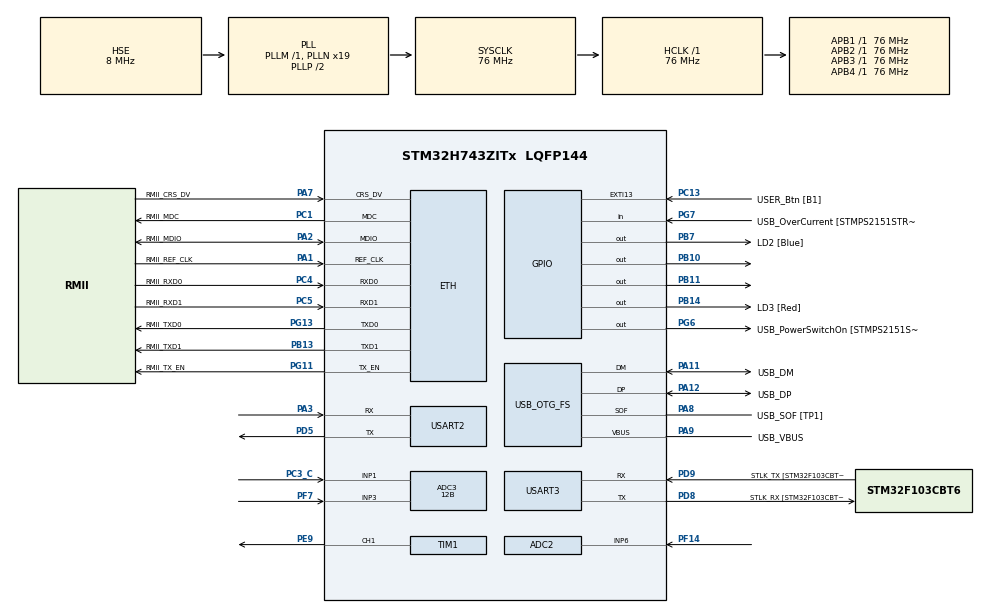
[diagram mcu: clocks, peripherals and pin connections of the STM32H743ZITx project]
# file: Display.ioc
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ADC2.Channel-6\#ChannelRegularConversion=ADC_CHANNEL_6
ADC2.ClockPrescaler=ADC_CLOCK_ASYNC_DIV2
ADC2.ClockPrescalerADC3=ADC_CLOCK_ASYNC_DIV4
ADC2.ContinuousConvMode=DISABLE
ADC2.NbrOfConversionFlag=1
ADC2.Offset-6\#ChannelRegularConversion=0
ADC2.OffsetNumber-6\#ChannelRegularConversion=ADC_OFFSET_NONE
ADC2.OffsetSignedSaturation-6\#ChannelRegularConversion=DISABLE
ADC2.Rank-6\#ChannelRegularConversion=1
ADC2.Resolution=ADC_RESOLUTION_12B
ADC2.SamplingTime-6\#ChannelRegularConversion=ADC_SAMPLETIME_16CYCLES_5
ADC3.Channel-0\#ChannelRegularConversion=ADC_CHANNEL_1
ADC3.Channel-2\#ChannelRegularConversion=ADC_CHANNEL_3
ADC3.ClockPrescalerADC3=ADC_CLOCK_ASYNC_DIV4
ADC3.ContinuousConvMode=DISABLE
ADC3.ConversionDataManagement=ADC_CONVERSIONDATA_DMA_CIRCULAR
ADC3.EOCSelection=ADC_EOC_SEQ_CONV
ADC3.NbrOfConversion=2
ADC3.NbrOfConversionFlag=1
ADC3.OffsetNumber-2\#ChannelRegularConversion=ADC_OFFSET_NONE
ADC3.Rank-2\#ChannelRegularConversion=2
ADC3.Resolution=ADC_RESOLUTION_12B
ADC3.SamplingTime-0\#ChannelRegularConversion=ADC_SAMPLETIME_64CYCLES_5
ADC3.SamplingTime-2\#ChannelRegularConversion=ADC_SAMPLETIME_64CYCLES_5
Dma.ADC3.0.Direction=DMA_PERIPH_TO_MEMORY
Dma.ADC3.0.EventEnable=DISABLE
Dma.ADC3.0.FIFOMode=DMA_FIFOMODE_DISABLE
Dma.ADC3.0.Instance=DMA1_Stream0
Dma.ADC3.0.MemDataAlignment=DMA_MDATAALIGN_HALFWORD
Dma.ADC3.0.MemInc=DMA_MINC_ENABLE
Dma.ADC3.0.Mode=DMA_CIRCULAR
Dma.ADC3.0.PeriphDataAlignment=DMA_PDATAALIGN_HALFWORD
Dma.ADC3.0.PeriphInc=DMA_PINC_DISABLE
Dma.ADC3.0.Polarity=HAL_DMAMUX_REQ_GEN_RISING
Dma.ADC3.0.Priority=DMA_PRIORITY_LOW
Dma.ADC3.0.RequestNumber=1
Dma.ADC3.0.SignalID=NONE
Dma.ADC3.0.SyncEnable=DISABLE
Dma.ADC3.0.SyncPolarity=HAL_DMAMUX_SYNC_NO_EVENT
Dma.ADC3.0.SyncRequestNumber=1
Dma.ADC3.0.SyncSignalID=NONE
Dma.Request0=ADC3
ETH.MediaInterface=HAL_ETH_RMII_MODE
Mcu.Family=STM32H7
Mcu.Name=STM32H743ZITx
Mcu.Package=LQFP144
NVIC.ADC3_IRQn=true\:1\:0\:true\:false\:true\:true\:true\:true
NVIC.DMA1_Stream0_IRQn=true\:0\:0\:false\:false\:true\:false\:true\:true
NVIC.PriorityGroup=NVIC_PRIORITYGROUP_4
NVIC.USART2_IRQn=true\:0\:0\:false\:false\:true\:true\:true\:true
PA1.GPIO_Label=RMII_REF_CLK
PA1.Mode=RMII
PA1.Signal=ETH_REF_CLK
PA10.GPIO_Label=USB_ID
PA10.Signal=USB_OTG_FS_ID
PA11.GPIO_Label=USB_DM
PA11.Mode=Device_Only
PA11.Signal=USB_OTG_FS_DM
PA12.GPIO_Label=USB_DP
PA12.Mode=Device_Only
PA12.Signal=USB_OTG_FS_DP
PA13\ (JTMS/SWDIO).GPIO_Label=TMS
PA13\ (JTMS/SWDIO).Mode=Trace_Asynchronous_SW
PA13\ (JTMS/SWDIO).Signal=DEBUG_JTMS-SWDIO
PA14\ (JTCK/SWCLK).GPIO_Label=TCK
PA14\ (JTCK/SWCLK).Mode=Trace_Asynchronous_SW
PA14\ (JTCK/SWCLK).Signal=DEBUG_JTCK-SWCLK
PA2.GPIO_Label=RMII_MDIO
PA2.Mode=RMII
PA2.Signal=ETH_MDIO
PA3.Mode=Asynchronous
PA3.Signal=USART2_RX
PA7.GPIO_Label=RMII_CRS_DV
PA7.Mode=RMII
PA7.Signal=ETH_CRS_DV
PA8.GPIO_Label=USB_SOF [TP1]
PA8.Mode=Activate_SOF_FS
PA8.Signal=USB_OTG_FS_SOF
PA9.GPIO_Label=USB_VBUS
PA9.Mode=Activate_VBUS
PA9.Signal=USB_OTG_FS_VBUS
PB10.Signal=GPIO_Output
PB11.Signal=GPIO_Output
PB13.GPIO_Label=RMII_TXD1
PB13.Mode=RMII
PB13.Signal=ETH_TXD1
PB14.GPIO_Label=LD3 [Red]
PB14.Signal=GPIO_Output
PB3\ (JTDO/TRACESWO).GPIO_Label=SWO
PB3\ (JTDO/TRACESWO).Mode=Trace_Asynchronous_SW
PB3\ (JTDO/TRACESWO).Signal=DEBUG_JTDO-SWO
PB7.GPIO_Label=LD2 [Blue]
PB7.Signal=GPIO_Output
PC1.GPIO_Label=RMII_MDC
PC1.Mode=RMII
PC1.Signal=ETH_MDC
PC13.GPIO_Label=USER_Btn [B1]
PC13.Signal=GPXTI13
PC14-OSC32_IN\ (OSC32_IN).Mode=LSE-External-Oscillator
PC14-OSC32_IN\ (OSC32_IN).Signal=RCC_OSC32_IN
PC15-OSC32_OUT\ (OSC32_OUT).Mode=LSE-External-Oscillator
PC15-OSC32_OUT\ (OSC32_OUT).Signal=RCC_OSC32_OUT
PC3_C.Mode=IN1-Single-Ended
PC3_C.Signal=ADC3_INP1
PC4.GPIO_Label=RMII_RXD0
PC4.Mode=RMII
PC4.Signal=ETH_RXD0
PC5.GPIO_Label=RMII_RXD1
PC5.Mode=RMII
PC5.Signal=ETH_RXD1
PD5.Mode=Asynchronous
PD5.Signal=USART2_TX
PD8.GPIO_Label=STLK_RX [STM32F103CBT6_PA3]
PD8.Mode=Asynchronous
PD8.Signal=USART3_TX
PD9.GPIO_Label=STLK_TX [STM32F103CBT6_PA2]
PD9.Mode=Asynchronous
PD9.Signal=USART3_RX
PE9.Signal=S_TIM1_CH1
PF14.Mode=IN6-Single-Ended
PF14.Signal=ADC2_INP6
PF7.Mode=IN3-Single-Ended
PF7.Signal=ADC3_INP3
PG11.GPIO_Label=RMII_TX_EN
PG11.Mode=RMII
PG11.Signal=ETH_TX_EN
PG13.GPIO_Label=RMII_TXD0
PG13.Mode=RMII
PG13.Signal=ETH_TXD0
PG6.GPIO_Label=USB_PowerSwitchOn [STMPS2151STR_EN]
PG6.Signal=GPIO_Output
PG7.GPIO_Label=USB_OverCurrent [STMPS2151STR_FAULT]
PG7.Signal=GPIO_Input
PH0-OSC_IN\ (PH0).GPIO_Label=MCO
PH0-OSC_IN\ (PH0).Mode=HSE-External-Clock-Source
PH0-OSC_IN\ (PH0).Signal=RCC_OSC_IN
PH1-OSC_OUT\ (PH1).Signal=RCC_OSC_OUT
ProjectManager.HeapSize=0x200
ProjectManager.StackSize=0x400
ProjectManager.TargetToolchain=STM32CubeIDE
RCC.48MHZClocksFreq_Value=24000000
RCC.ADCFreq_Value=76000000
RCC.AHBFreq_Value=216000000
RCC.APB1CLKDivider=RCC_HCLK_DIV4
RCC.APB1Freq_Value=76000000
RCC.APB1TimFreq_Value=108000000
RCC.APB2CLKDivider=RCC_HCLK_DIV2
RCC.APB2Freq_Value=76000000
RCC.APB2TimFreq_Value=216000000
RCC.APB3Freq_Value=76000000
RCC.APB4Freq_Value=76000000
RCC.CECCLockSelection=RCC_CECCLKSOURCE_LSI
RCC.CKPERSourceSelection=RCC_CLKPSOURCE_HSI
RCC.CSI_VALUE=4000000
RCC.CortexFreq_Value=76000000
RCC.Cortex_Div=SYSTICK_CLKSOURCE_HCLK
RCC.Cortex_DivARG=SystemCoreClock/1000
RCC.DFSDMCLockSelection=RCC_DFSDM1CLKSOURCE_D2PCLK1
RCC.DIVM1=1
RCC.DIVM2=1
RCC.DIVM3=4
RCC.DIVN1=19
RCC.DIVN2=19
RCC.DIVN3=19
RCC.DIVP3=2
RCC.DIVQ1=3
RCC.DIVQ2=2
RCC.DIVQ3=2
RCC.DIVR1=2
RCC.DIVR2=2
RCC.DIVR3=2
RCC.DSICLockSelection=RCC_DSICLKSOURCE_PHY
RCC.DSIPHY_Div=8
RCC.DSITX_Div=4
RCC.DSI_PHY_VALUE=12288000
RCC.EXTERNAL_CLOCK_VALUE=12288000
RCC.EnbaleCSS=false
RCC.FDCANCLockSelection=RCC_FDCANCLKSOURCE_PLL
RCC.FMCCLockSelection=RCC_FMCCLKSOURCE_D1HCLK
RCC.HCLKFreq_Value=76000000
RCC.HSE_VALUE=8000000
RCC.HSIDiv=RCC_PLLSAIDIVR_1
RCC.HSI_VALUE=64000000
RCC.I2C123CLockSelection=RCC_I2C123CLKSOURCE_D2PCLK1
RCC.I2C4CLockSelection=RCC_I2C4CLKSOURCE_D3PCLK1
RCC.LPTIM1CLockSelection=RCC_LPTIM1CLKSOURCE_D2PCLK1
RCC.LPTIM2CLockSelection=RCC_LPTIM2CLKSOURCE_D3PCLK1
RCC.LPTIM345CLockSelection=RCC_LPTIM345CLKSOURCE_D3PCLK1
RCC.LPUART1CLockSelection=RCC_LPUART1CLKSOURCE_D3PCLK1
RCC.PLL1_VCI_Range-AdvancedSettings=RCC_PLL1VCIRANGE_0
RCC.PLL1_VCO_SEL-AdvancedSettings=RCC_PLL1VCOMEDIUM
RCC.PLL2FRACN=0
RCC.PLL2_VCI_Range-AdvancedSettings=RCC_PLL2VCIRANGE_1
RCC.PLL2_VCO_SEL-AdvancedSettings=RCC_PLL2VCOMEDIUM
RCC.PLL3FRACN=0
RCC.PLL3_VCI_Range-AdvancedSettings=RCC_PLL3VCIRANGE_0
RCC.PLL3_VCO_SEL-AdvancedSettings=RCC_PLL3VCOWIDE
RCC.PLLDSIDev=2
RCC.PLLDSIIDF=DSI_PLL_IN_DIV1
RCC.PLLDSIMult=2
RCC.PLLDSINDIV=20
RCC.PLLDSIODF=DSI_PLL_OUT_DIV1
RCC.PLLFRACN=0
RCC.PLLM=25
RCC.PLLMUL=RCC_PLL_MUL9
RCC.PLLN=432
RCC.PLLQ=9
RCC.PRESCALERUSB=RCC_USBCLKSOURCE_PLL_DIV1_5
RCC.PWR_Regulator_Voltage_Scale=PWR_REGULATOR_VOLTAGE_SCALE1
RCC.QSPICLockSelection=RCC_QSPICLKSOURCE_D1HCLK
RCC.RC48_VALUE=48000000
RCC.RCC_MCO1Source=RCC_MCO1SOURCE_HSI
RCC.RCC_MCO2Source=RCC_MCO2SOURCE_SYSCLK
RCC.RCC_MCODiv1=RCC_MCODIV_1
RCC.RCC_MCODiv2=RCC_MCODIV_1
RCC.RCC_RTC_Clock_Source_FROM_HSE=RCC_RTCCLKSOURCE_HSE_DIV2
RCC.RNGCLockSelection=RCC_RNGCLKSOURCE_HSI48
RCC.SAI1CLockSelection=RCC_SAI1CLKSOURCE_PLL
RCC.SAI23CLockSelection=RCC_SAI23CLKSOURCE_PLL
RCC.SAI4ACLockSelection=RCC_SAI4ACLKSOURCE_PLL
RCC.SAI4BCLockSelection=RCC_SAI4BCLKSOURCE_PLL
RCC.SPDIFCLockSelection=RCC_SPDIFRXCLKSOURCE_PLL
RCC.SPI123CLockSelection=RCC_SPI123CLKSOURCE_PLL
RCC.SPI6CLockSelection=RCC_SPI6CLKSOURCE_D3PCLK1
RCC.SWPCLockSelection=RCC_SWPMI1CLKSOURCE_D2PCLK1
RCC.SYSCLKFreq_VALUE=76000000
RCC.SYSCLKSource=RCC_SYSCLKSOURCE_PLLCLK
RCC.SYSCLKSourceVirtual=RCC_SYSCLKSOURCE_PLLCLK
RCC.Spi45ClockSelection=RCC_SPI45CLKSOURCE_D2PCLK1
RCC.USART16CLockSelection=RCC_USART16CLKSOURCE_D2PCLK2
RCC.USART234578CLockSelection=RCC_USART234578CLKSOURCE_D2PCLK1
RCC.USBCLockSelection=RCC_USBCLKSOURCE_PLL
RCC.USBFreq_Value=50666666.666666664
RCC.VCOOutputFreq_Value=432000000
SH.S_TIM1_CH1.0=TIM1_CH1,PWM Generation1 CH1
TIM1.Channel-PWM\ Generation1\ CH1=TIM_CHANNEL_1
TIM1.Period=255
USART2.VirtualMode-Asynchronous=VM_ASYNC
USART3.VirtualMode-Asynchronous=VM_ASYNC
USB_OTG_FS.VirtualMode=Device_Only
VP_MEMORYMAP_VS_MEMORYMAP.Mode=CurAppReg
board=NUCLEO-H743ZI

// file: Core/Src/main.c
/* USER CODE BEGIN Header */
/**
  ******************************************************************************
  * @file           : main.c
  * @brief          : Main program body
  ******************************************************************************
  * @attention
  *
  * Copyright (c) 2024 STMicroelectronics.
  * All rights reserved.
  *
  * This software is licensed under terms that can be found in the LICENSE file
  * in the root directory of this software component.
  * If no LICENSE file comes with this software, it is provided AS-IS.
  *
  ******************************************************************************
  */
/* USER CODE END Header */
#include "main.h"
#include "string.h"

/* USER CODE BEGIN Includes */
#include "stdio.h"
//#include "stm32fxx_hal_adc.h"
/* USER CODE END Includes */

/* USER CODE BEGIN PD */
int _write(int file, char *ptr, int len)
{
  /* Implement your write code here, this is used by puts and printf for example */
  int i=0;
  for(i=0 ; i<len ; i++)
    ITM_SendChar((*ptr++));
  return len;
}

/* USER CODE END PD */

#if defined ( __ICCARM__ ) /*!< IAR Compiler */
#pragma location=0x30000000
ETH_DMADescTypeDef  DMARxDscrTab[ETH_RX_DESC_CNT]; /* Ethernet Rx DMA Descriptors */
#pragma location=0x30000080
ETH_DMADescTypeDef  DMATxDscrTab[ETH_TX_DESC_CNT]; /* Ethernet Tx DMA Descriptors */

#elif defined ( __CC_ARM )  /* MDK ARM Compiler */

__attribute__((at(0x30000000))) ETH_DMADescTypeDef  DMARxDscrTab[ETH_RX_DESC_CNT]; /* Ethernet Rx DMA Descriptors */
__attribute__((at(0x30000080))) ETH_DMADescTypeDef  DMATxDscrTab[ETH_TX_DESC_CNT]; /* Ethernet Tx DMA Descriptors */

#elif defined ( __GNUC__ ) /* GNU Compiler */

ETH_DMADescTypeDef DMARxDscrTab[ETH_RX_DESC_CNT] __attribute__((section(".RxDecripSection"))); /* Ethernet Rx DMA Descriptors */
ETH_DMADescTypeDef DMATxDscrTab[ETH_TX_DESC_CNT] __attribute__((section(".TxDecripSection")));   /* Ethernet Tx DMA Descriptors */
#endif

ETH_TxPacketConfig TxConfig;

ADC_HandleTypeDef hadc2;
ADC_HandleTypeDef hadc3;
DMA_HandleTypeDef hdma_adc3;

ETH_HandleTypeDef heth;

TIM_HandleTypeDef htim1;

UART_HandleTypeDef huart2;
UART_HandleTypeDef huart3;

PCD_HandleTypeDef hpcd_USB_OTG_FS;

/* USER CODE BEGIN PV */
uint16_t rawValues[2];

uint8_t tx_buffer[27] ="Welcome";
/* USER CODE END PV */

void SystemClock_Config(void);
void PeriphCommonClock_Config(void);
static void MX_GPIO_Init(void);
static void MX_DMA_Init(void);
static void MX_ETH_Init(void);
static void MX_USART3_UART_Init(void);
static void MX_USB_OTG_FS_PCD_Init(void);
static void MX_USART2_UART_Init(void);
static void MX_TIM1_Init(void);
static void MX_ADC2_Init(void);
static void MX_ADC3_Init(void);
/* USER CODE BEGIN PFP */
uint8_t convCompleted=0;
uint16_t winkel1;
uint16_t winkel2;
void HAL_ADC_ConvCpltCallback(ADC_HandleTypeDef *hadc)
{
    if (hadc->Instance == ADC3) {
        convCompleted = 1; // Setze den Flag bei erfolgreicher Konversion

    }
}
/* USER CODE END PFP */

/* USER CODE BEGIN 0 */

//Angel calcu
double rotation_per_cycle = 4.0;   // Länge des Riemens pro Umdrehung in cm
double degree_per_step = 360.0 / 4096.0; // Grad pro Schritt (12-Bit ADC)
double last_position = 0.0;
int total_rotations = 0;
uint32_t adc_value = 0;
uint32_t last_tick = 0;
uint32_t sample_interval = 5; // Abtastrate 100 HZ
uint32_t last_angel = 0;

//speed calcu
double current_position=0;
unsigned long last_time=0;

//speed pwm
double max_speed = 50.0;  // Maximale Geschwindigkeit des Motors in cm/s
uint32_t max_pwm = 255;  // Maximaler PWM-Wert
int direction=0; // 1 vorwährts -1 rückwärts

//check limit
const double LOWER_LIMIT = -60.0; // Untere Grenze in cm
const double UPPER_LIMIT = 60.0; // Obere Grenze in cm
double motor_speed=30;
int motor_direction=1;

//aufschwingen
double aufschwing_geschwindigkeiten[5]= {20.0, 40.0, 60.0, 80.0, 100.0};
uint32_t timer_start=0;

void calculate_position() {
    double angle = adc_value * degree_per_step;
    double angle_diff = angle - last_angel;

    if (angle_diff > 180) {
        total_rotations--;
    } else if (angle_diff < -180) {
        total_rotations++;
    }

    current_position = total_rotations * rotation_per_cycle +(angle / 360.0) * rotation_per_cycle;
    printf("Winkel = %.2f \n", angle);
    printf("Position = %.2f cm\n", current_position);

    last_angel= angle;
}
void calculate_speed() {
    unsigned long current_time = HAL_GetTick();  // Erhalte die aktuelle Zeit in Millisekunden
    double time_diff = (current_time - last_time) / 1000.0;  // Zeitdifferenz in Sekunden

    if (time_diff > 0) {
        double position_diff = current_position - last_position;  // Positionsdifferenz
        double speed = position_diff / time_diff;  // Geschwindigkeit in cm/s

        printf("Geschwindigkeit = %.2f cm/s\n", speed);

        // Update letzte Werte
        last_position = current_position;
        last_time = current_time;
    } else {
        printf("Zeitdifferenz zu klein, keine Geschwindigkeit berechnet.\n");
    }
}

void set_motor_speed(double desired_speed,int direction) {
    // Begrenze die Zielgeschwindigkeit auf den erlaubten Bereich
    if (desired_speed <= 0) {
        desired_speed = 0;  // Minimale Geschwindigkeit (Stillstand)
     	  HAL_GPIO_WritePin(GPIOB, GPIO_PIN_10, 0);
      	  HAL_GPIO_WritePin(GPIOB, GPIO_PIN_11, 0);
    } else if (desired_speed > max_speed) {
        //desired_speed = max_speed;  // Begrenze auf die maximale Geschwindigkeit
    }

    if (direction == 1) {
  	  HAL_GPIO_WritePin(GPIOB, GPIO_PIN_10, 1);
  	  HAL_GPIO_WritePin(GPIOB, GPIO_PIN_11, 0);
    } else if (direction == -1) {
  	  HAL_GPIO_WritePin(GPIOB, GPIO_PIN_10, 0);
  	  HAL_GPIO_WritePin(GPIOB, GPIO_PIN_11, 1);
    } else {
        // Falls ungültige Richtung übergeben wurde, setze Motor still

        desired_speed = 0;
    }
    // Berechne das Verhältnis der gewünschten Geschwindigkeit zur Maximalgeschwindigkeit
    double speed_ratio = desired_speed / max_speed;

    // Berechne den PWM-Wert (Duty Cycle) basierend auf dem Geschwindigkeitsverhältnis
    uint32_t pwm_value = (uint32_t)(speed_ratio * max_pwm);

    // Setze den PWM-Wert (Duty Cycle)
	  __HAL_TIM_SET_COMPARE(&htim1, TIM_CHANNEL_1,desired_speed);

    printf("Eingestellter PWM-Wert: %d\n", pwm_value);
    printf("Gewünschte Geschwindigkeit: %.2f cm/s\n", desired_speed);
}

int wambo=0;
void check_limit(){
		if (current_position <= LOWER_LIMIT || current_position >= UPPER_LIMIT){
			   motor_speed=0;
			  motor_direction=0;
			  wambo=1;
		}

}
int i =0;
void aufschwingen() {
    uint32_t elapsed_time = HAL_GetTick() - timer_start;  // Zeit, die seit dem Start der Bewegung vergangen ist

    // Wenn 6 ms vergangen sind, die Richtung wechseln
    if ((elapsed_time >= 200)&&wambo==0) {
    	if(i==0){
    		motor_direction=1;
    		i=1;
    	}
    	else{
    		motor_direction=-1;
    		i=0;
    	}
    	//motor_direction *= -1;  // Richtung umkehren
        timer_start = HAL_GetTick();  // Timer zurücksetzen für die nächste Phase
    }

    // Motor fahren, solange keine Grenze erreicht wurde
    set_motor_speed(motor_speed, motor_direction);

}

/* USER CODE END 0 */

int main(void)
{

  /* MCU Configuration--------------------------------------------------------*/

  /* Reset of all peripherals, Initializes the Flash interface and the Systick. */
  HAL_Init();

  /* Configure the system clock */
  SystemClock_Config();

  /* Configure the peripherals common clocks */
  PeriphCommonClock_Config();

  /* Initialize all configured peripherals */
  MX_GPIO_Init();
  MX_DMA_Init();
  MX_ETH_Init();
  MX_USART3_UART_Init();
  MX_USB_OTG_FS_PCD_Init();
  MX_USART2_UART_Init();
  MX_TIM1_Init();
  MX_ADC2_Init();
  MX_ADC3_Init();
  /* USER CODE BEGIN 2 */
  //Aufschwingen
  HAL_TIM_PWM_Start(&htim1, TIM_CHANNEL_1);
  HAL_StatusTypeDef nutte;
  nutte =HAL_ADCEx_Calibration_Start(&hadc2, 0, ADC_SINGLE_ENDED);
  if(nutte != HAL_OK){
	  Error_Handler();
  }
  HAL_ADC_Start(&hadc2);
//Regelung
  HAL_StatusTypeDef nutte2 = HAL_ADCEx_Calibration_Start(&hadc3, 0, ADC_SINGLE_ENDED);
  if(nutte2 != HAL_OK){
      Error_Handler();
  }
  HAL_StatusTypeDef nutte3;
  nutte3 =HAL_ADC_Start_DMA(&hadc3, (uint32_t *) rawValues, 2);
  HAL_ADC_MspInit(&hadc3);

int winkel1 ;
  //uint16_t adc_value=0;
  /* USER CODE END 2 */

  /* Infinite loop */
  while (1)
  {

    /* USER CODE BEGIN 3 */
if (nutte3!=HAL_OK){
	 printf("Bringt nichts");
}

/*
	  printf("ADC: %d\n", rawValues[0]);
	  printf("ADC: %d\n", rawValues[1]);//unterer
	  printf("Interrupt?: %d\n", convCompleted);

	  HAL_ADC_Start_DMA(&hadc3, (uint32_t *) rawValues, 2);

	 // printf("Winkel1: %d\n", winkel1);
	  printf("Winkel1: %.2f\n", 360.0 - ((rawValues[0] / 4095.0) * 360.0)) ;
	  printf("Winkel2: %.2f\n", 360.0 - ((rawValues[1] / 4095.0) * 360.0)) ;

	  HAL_Delay(400);

	  */
	  	  //Aufschwing code
          HAL_ADC_Start(&hadc2);
          if (HAL_ADC_PollForConversion(&hadc2, HAL_MAX_DELAY) == HAL_OK) {
              adc_value = HAL_ADC_GetValue(&hadc2);
              printf("ADCwert= %d \n",adc_value);
              calculate_position();
              calculate_speed();
              aufschwingen();
              check_limit();
              HAL_ADC_Stop(&hadc2);
          }

  }
  /* USER CODE END 3 */
}

void SystemClock_Config(void)
{
  RCC_OscInitTypeDef RCC_OscInitStruct = {0};
  RCC_ClkInitTypeDef RCC_ClkInitStruct = {0};

  /** Supply configuration update enable
  */
  HAL_PWREx_ConfigSupply(PWR_LDO_SUPPLY);

  /** Configure the main internal regulator output voltage
  */
  __HAL_PWR_VOLTAGESCALING_CONFIG(PWR_REGULATOR_VOLTAGE_SCALE1);

  while(!__HAL_PWR_GET_FLAG(PWR_FLAG_VOSRDY)) {}

  /** Initializes the RCC Oscillators according to the specified parameters
  * in the RCC_OscInitTypeDef structure.
  */
  RCC_OscInitStruct.OscillatorType = RCC_OSCILLATORTYPE_HSE;
  RCC_OscInitStruct.HSEState = RCC_HSE_BYPASS;
  RCC_OscInitStruct.PLL.PLLState = RCC_PLL_ON;
  RCC_OscInitStruct.PLL.PLLSource = RCC_PLLSOURCE_HSE;
  RCC_OscInitStruct.PLL.PLLM = 1;
  RCC_OscInitStruct.PLL.PLLN = 19;
  RCC_OscInitStruct.PLL.PLLP = 2;
  RCC_OscInitStruct.PLL.PLLQ = 3;
  RCC_OscInitStruct.PLL.PLLR = 2;
  RCC_OscInitStruct.PLL.PLLRGE = RCC_PLL1VCIRANGE_3;
  RCC_OscInitStruct.PLL.PLLVCOSEL = RCC_PLL1VCOMEDIUM;
  RCC_OscInitStruct.PLL.PLLFRACN = 0;
  if (HAL_RCC_OscConfig(&RCC_OscInitStruct) != HAL_OK)
  {
    Error_Handler();
  }

  /** Initializes the CPU, AHB and APB buses clocks
  */
  RCC_ClkInitStruct.ClockType = RCC_CLOCKTYPE_HCLK|RCC_CLOCKTYPE_SYSCLK
                              |RCC_CLOCKTYPE_PCLK1|RCC_CLOCKTYPE_PCLK2
                              |RCC_CLOCKTYPE_D3PCLK1|RCC_CLOCKTYPE_D1PCLK1;
  RCC_ClkInitStruct.SYSCLKSource = RCC_SYSCLKSOURCE_PLLCLK;
  RCC_ClkInitStruct.SYSCLKDivider = RCC_SYSCLK_DIV1;
  RCC_ClkInitStruct.AHBCLKDivider = RCC_HCLK_DIV1;
  RCC_ClkInitStruct.APB3CLKDivider = RCC_APB3_DIV1;
  RCC_ClkInitStruct.APB1CLKDivider = RCC_APB1_DIV1;
  RCC_ClkInitStruct.APB2CLKDivider = RCC_APB2_DIV1;
  RCC_ClkInitStruct.APB4CLKDivider = RCC_APB4_DIV1;

  if (HAL_RCC_ClockConfig(&RCC_ClkInitStruct, FLASH_LATENCY_1) != HAL_OK)
  {
    Error_Handler();
  }
}

void PeriphCommonClock_Config(void)
{
  RCC_PeriphCLKInitTypeDef PeriphClkInitStruct = {0};

  /** Initializes the peripherals clock
  */
  PeriphClkInitStruct.PeriphClockSelection = RCC_PERIPHCLK_ADC;
  PeriphClkInitStruct.PLL2.PLL2M = 1;
  PeriphClkInitStruct.PLL2.PLL2N = 19;
  PeriphClkInitStruct.PLL2.PLL2P = 2;
  PeriphClkInitStruct.PLL2.PLL2Q = 2;
  PeriphClkInitStruct.PLL2.PLL2R = 2;
  PeriphClkInitStruct.PLL2.PLL2RGE = RCC_PLL2VCIRANGE_3;
  PeriphClkInitStruct.PLL2.PLL2VCOSEL = RCC_PLL2VCOMEDIUM;
  PeriphClkInitStruct.PLL2.PLL2FRACN = 0;
  PeriphClkInitStruct.AdcClockSelection = RCC_ADCCLKSOURCE_PLL2;
  if (HAL_RCCEx_PeriphCLKConfig(&PeriphClkInitStruct) != HAL_OK)
  {
    Error_Handler();
  }
}

static void MX_ADC2_Init(void)
{

  ADC_ChannelConfTypeDef sConfig = {0};

  /** Common config
  */
  hadc2.Instance = ADC2;
  hadc2.Init.ClockPrescaler = ADC_CLOCK_ASYNC_DIV4;
  hadc2.Init.ScanConvMode = ADC_SCAN_DISABLE;
  hadc2.Init.EOCSelection = ADC_EOC_SINGLE_CONV;
  hadc2.Init.LowPowerAutoWait = DISABLE;
  hadc2.Init.ContinuousConvMode = DISABLE;
  hadc2.Init.NbrOfConversion = 1;
  hadc2.Init.DiscontinuousConvMode = DISABLE;
  hadc2.Init.ExternalTrigConv = ADC_SOFTWARE_START;
  hadc2.Init.ExternalTrigConvEdge = ADC_EXTERNALTRIGCONVEDGE_NONE;
  hadc2.Init.ConversionDataManagement = ADC_CONVERSIONDATA_DR;
  hadc2.Init.Overrun = ADC_OVR_DATA_PRESERVED;
  hadc2.Init.LeftBitShift = ADC_LEFTBITSHIFT_NONE;
  hadc2.Init.OversamplingMode = DISABLE;
  hadc2.Init.Oversampling.Ratio = 1;
  if (HAL_ADC_Init(&hadc2) != HAL_OK)
  {
    Error_Handler();
  }
  hadc2.Init.ClockPrescaler = ADC_CLOCK_ASYNC_DIV2;
  hadc2.Init.Resolution = ADC_RESOLUTION_12B;
  if (HAL_ADC_Init(&hadc2) != HAL_OK)
  {
    Error_Handler();
  }

  /** Configure Regular Channel
  */
  sConfig.Channel = ADC_CHANNEL_6;
  sConfig.Rank = ADC_REGULAR_RANK_1;
  sConfig.SamplingTime = ADC_SAMPLETIME_16CYCLES_5;
  sConfig.SingleDiff = ADC_SINGLE_ENDED;
  sConfig.OffsetNumber = ADC_OFFSET_NONE;
  sConfig.Offset = 0;
  sConfig.OffsetSignedSaturation = DISABLE;
  if (HAL_ADC_ConfigChannel(&hadc2, &sConfig) != HAL_OK)
  {
    Error_Handler();
  }

}

static void MX_ADC3_Init(void)
{

  ADC_ChannelConfTypeDef sConfig = {0};

  /** Common config
  */
  hadc3.Instance = ADC3;
  hadc3.Init.ClockPrescaler = ADC_CLOCK_ASYNC_DIV4;
  hadc3.Init.ScanConvMode = ADC_SCAN_ENABLE;
  hadc3.Init.EOCSelection = ADC_EOC_SEQ_CONV;
  hadc3.Init.LowPowerAutoWait = DISABLE;
  hadc3.Init.ContinuousConvMode = DISABLE;
  hadc3.Init.NbrOfConversion = 2;
  hadc3.Init.DiscontinuousConvMode = DISABLE;
  hadc3.Init.ExternalTrigConv = ADC_SOFTWARE_START;
  hadc3.Init.ExternalTrigConvEdge = ADC_EXTERNALTRIGCONVEDGE_NONE;
  hadc3.Init.ConversionDataManagement = ADC_CONVERSIONDATA_DMA_CIRCULAR;
  hadc3.Init.Overrun = ADC_OVR_DATA_PRESERVED;
  hadc3.Init.LeftBitShift = ADC_LEFTBITSHIFT_NONE;
  hadc3.Init.OversamplingMode = DISABLE;
  hadc3.Init.Oversampling.Ratio = 1;
  if (HAL_ADC_Init(&hadc3) != HAL_OK)
  {
    Error_Handler();
  }
  hadc3.Init.Resolution = ADC_RESOLUTION_12B;
  if (HAL_ADC_Init(&hadc3) != HAL_OK)
  {
    Error_Handler();
  }

  /** Configure Regular Channel
  */
  sConfig.Channel = ADC_CHANNEL_1;
  sConfig.Rank = ADC_REGULAR_RANK_1;
  sConfig.SamplingTime = ADC_SAMPLETIME_64CYCLES_5;
  sConfig.SingleDiff = ADC_SINGLE_ENDED;
  sConfig.OffsetNumber = ADC_OFFSET_NONE;
  sConfig.Offset = 0;
  if (HAL_ADC_ConfigChannel(&hadc3, &sConfig) != HAL_OK)
  {
    Error_Handler();
  }

  /** Configure Regular Channel
  */
  sConfig.Channel = ADC_CHANNEL_3;
  sConfig.Rank = ADC_REGULAR_RANK_2;
  if (HAL_ADC_ConfigChannel(&hadc3, &sConfig) != HAL_OK)
  {
    Error_Handler();
  }

}

static void MX_ETH_Init(void)
{

   static uint8_t MACAddr[6];

  heth.Instance = ETH;
  MACAddr[0] = 0x00;
  MACAddr[1] = 0x80;
  MACAddr[2] = 0xE1;
  MACAddr[3] = 0x00;
  MACAddr[4] = 0x00;
  MACAddr[5] = 0x00;
  heth.Init.MACAddr = &MACAddr[0];
  heth.Init.MediaInterface = HAL_ETH_RMII_MODE;
  heth.Init.TxDesc = DMATxDscrTab;
  heth.Init.RxDesc = DMARxDscrTab;
  heth.Init.RxBuffLen = 1524;

  if (HAL_ETH_Init(&heth) != HAL_OK)
  {
    Error_Handler();
  }

  memset(&TxConfig, 0 , sizeof(ETH_TxPacketConfig));
  TxConfig.Attributes = ETH_TX_PACKETS_FEATURES_CSUM | ETH_TX_PACKETS_FEATURES_CRCPAD;
  TxConfig.ChecksumCtrl = ETH_CHECKSUM_IPHDR_PAYLOAD_INSERT_PHDR_CALC;
  TxConfig.CRCPadCtrl = ETH_CRC_PAD_INSERT;

}

static void MX_TIM1_Init(void)
{

  TIM_MasterConfigTypeDef sMasterConfig = {0};
  TIM_OC_InitTypeDef sConfigOC = {0};
  TIM_BreakDeadTimeConfigTypeDef sBreakDeadTimeConfig = {0};

  htim1.Instance = TIM1;
  htim1.Init.Prescaler = 0;
  htim1.Init.CounterMode = TIM_COUNTERMODE_UP;
  htim1.Init.Period = 255;
  htim1.Init.ClockDivision = TIM_CLOCKDIVISION_DIV1;
  htim1.Init.RepetitionCounter = 0;
  htim1.Init.AutoReloadPreload = TIM_AUTORELOAD_PRELOAD_DISABLE;
  if (HAL_TIM_PWM_Init(&htim1) != HAL_OK)
  {
    Error_Handler();
  }
  sMasterConfig.MasterOutputTrigger = TIM_TRGO_RESET;
  sMasterConfig.MasterOutputTrigger2 = TIM_TRGO2_RESET;
  sMasterConfig.MasterSlaveMode = TIM_MASTERSLAVEMODE_DISABLE;
  if (HAL_TIMEx_MasterConfigSynchronization(&htim1, &sMasterConfig) != HAL_OK)
  {
    Error_Handler();
  }
  sConfigOC.OCMode = TIM_OCMODE_PWM1;
  sConfigOC.Pulse = 0;
  sConfigOC.OCPolarity = TIM_OCPOLARITY_HIGH;
  sConfigOC.OCNPolarity = TIM_OCNPOLARITY_HIGH;
  sConfigOC.OCFastMode = TIM_OCFAST_DISABLE;
  sConfigOC.OCIdleState = TIM_OCIDLESTATE_RESET;
  sConfigOC.OCNIdleState = TIM_OCNIDLESTATE_RESET;
  if (HAL_TIM_PWM_ConfigChannel(&htim1, &sConfigOC, TIM_CHANNEL_1) != HAL_OK)
  {
    Error_Handler();
  }
  sBreakDeadTimeConfig.OffStateRunMode = TIM_OSSR_DISABLE;
  sBreakDeadTimeConfig.OffStateIDLEMode = TIM_OSSI_DISABLE;
  sBreakDeadTimeConfig.LockLevel = TIM_LOCKLEVEL_OFF;
  sBreakDeadTimeConfig.DeadTime = 0;
  sBreakDeadTimeConfig.BreakState = TIM_BREAK_DISABLE;
  sBreakDeadTimeConfig.BreakPolarity = TIM_BREAKPOLARITY_HIGH;
  sBreakDeadTimeConfig.BreakFilter = 0;
  sBreakDeadTimeConfig.Break2State = TIM_BREAK2_DISABLE;
  sBreakDeadTimeConfig.Break2Polarity = TIM_BREAK2POLARITY_HIGH;
  sBreakDeadTimeConfig.Break2Filter = 0;
  sBreakDeadTimeConfig.AutomaticOutput = TIM_AUTOMATICOUTPUT_DISABLE;
  if (HAL_TIMEx_ConfigBreakDeadTime(&htim1, &sBreakDeadTimeConfig) != HAL_OK)
  {
    Error_Handler();
  }
  HAL_TIM_MspPostInit(&htim1);

}

static void MX_USART2_UART_Init(void)
{

  huart2.Instance = USART2;
  huart2.Init.BaudRate = 115200;
  huart2.Init.WordLength = UART_WORDLENGTH_8B;
  huart2.Init.StopBits = UART_STOPBITS_1;
  huart2.Init.Parity = UART_PARITY_NONE;
  huart2.Init.Mode = UART_MODE_TX_RX;
  huart2.Init.HwFlowCtl = UART_HWCONTROL_NONE;
  huart2.Init.OverSampling = UART_OVERSAMPLING_16;
  huart2.Init.OneBitSampling = UART_ONE_BIT_SAMPLE_DISABLE;
  huart2.Init.ClockPrescaler = UART_PRESCALER_DIV1;
  huart2.AdvancedInit.AdvFeatureInit = UART_ADVFEATURE_NO_INIT;
  if (HAL_UART_Init(&huart2) != HAL_OK)
  {
    Error_Handler();
  }
  if (HAL_UARTEx_SetTxFifoThreshold(&huart2, UART_TXFIFO_THRESHOLD_1_8) != HAL_OK)
  {
    Error_Handler();
  }
  if (HAL_UARTEx_SetRxFifoThreshold(&huart2, UART_RXFIFO_THRESHOLD_1_8) != HAL_OK)
  {
    Error_Handler();
  }
  if (HAL_UARTEx_DisableFifoMode(&huart2) != HAL_OK)
  {
    Error_Handler();
  }

}

static void MX_USART3_UART_Init(void)
{

  huart3.Instance = USART3;
  huart3.Init.BaudRate = 115200;
  huart3.Init.WordLength = UART_WORDLENGTH_8B;
  huart3.Init.StopBits = UART_STOPBITS_1;
  huart3.Init.Parity = UART_PARITY_NONE;
  huart3.Init.Mode = UART_MODE_TX_RX;
  huart3.Init.HwFlowCtl = UART_HWCONTROL_NONE;
  huart3.Init.OverSampling = UART_OVERSAMPLING_16;
  huart3.Init.OneBitSampling = UART_ONE_BIT_SAMPLE_DISABLE;
  huart3.Init.ClockPrescaler = UART_PRESCALER_DIV1;
  huart3.AdvancedInit.AdvFeatureInit = UART_ADVFEATURE_NO_INIT;
  if (HAL_UART_Init(&huart3) != HAL_OK)
  {
    Error_Handler();
  }
  if (HAL_UARTEx_SetTxFifoThreshold(&huart3, UART_TXFIFO_THRESHOLD_1_8) != HAL_OK)
  {
    Error_Handler();
  }
  if (HAL_UARTEx_SetRxFifoThreshold(&huart3, UART_RXFIFO_THRESHOLD_1_8) != HAL_OK)
  {
    Error_Handler();
  }
  if (HAL_UARTEx_DisableFifoMode(&huart3) != HAL_OK)
  {
    Error_Handler();
  }

}

static void MX_USB_OTG_FS_PCD_Init(void)
{

  hpcd_USB_OTG_FS.Instance = USB_OTG_FS;
  hpcd_USB_OTG_FS.Init.dev_endpoints = 9;
  hpcd_USB_OTG_FS.Init.speed = PCD_SPEED_FULL;
  hpcd_USB_OTG_FS.Init.dma_enable = DISABLE;
  hpcd_USB_OTG_FS.Init.phy_itface = PCD_PHY_EMBEDDED;
  hpcd_USB_OTG_FS.Init.Sof_enable = ENABLE;
  hpcd_USB_OTG_FS.Init.low_power_enable = DISABLE;
  hpcd_USB_OTG_FS.Init.lpm_enable = DISABLE;
  hpcd_USB_OTG_FS.Init.battery_charging_enable = ENABLE;
  hpcd_USB_OTG_FS.Init.vbus_sensing_enable = ENABLE;
  hpcd_USB_OTG_FS.Init.use_dedicated_ep1 = DISABLE;
  if (HAL_PCD_Init(&hpcd_USB_OTG_FS) != HAL_OK)
  {
    Error_Handler();
  }

}

static void MX_DMA_Init(void)
{

  /* DMA controller clock enable */
  __HAL_RCC_DMA1_CLK_ENABLE();

  /* DMA interrupt init */
  /* DMA1_Stream0_IRQn interrupt configuration */
  HAL_NVIC_SetPriority(DMA1_Stream0_IRQn, 0, 0);
  HAL_NVIC_EnableIRQ(DMA1_Stream0_IRQn);

}

static void MX_GPIO_Init(void)
{
  GPIO_InitTypeDef GPIO_InitStruct = {0};

  /* GPIO Ports Clock Enable */
  __HAL_RCC_GPIOC_CLK_ENABLE();
  __HAL_RCC_GPIOF_CLK_ENABLE();
  __HAL_RCC_GPIOH_CLK_ENABLE();
  __HAL_RCC_GPIOA_CLK_ENABLE();
  __HAL_RCC_GPIOE_CLK_ENABLE();
  __HAL_RCC_GPIOB_CLK_ENABLE();
  __HAL_RCC_GPIOD_CLK_ENABLE();
  __HAL_RCC_GPIOG_CLK_ENABLE();

  /*Configure GPIO pin Output Level */
  HAL_GPIO_WritePin(GPIOB, GPIO_PIN_10|GPIO_PIN_11|LD3_Pin|LD2_Pin, GPIO_PIN_RESET);

  /*Configure GPIO pin Output Level */
  HAL_GPIO_WritePin(USB_PowerSwitchOn_GPIO_Port, USB_PowerSwitchOn_Pin, GPIO_PIN_RESET);

  /*Configure GPIO pin : USER_Btn_Pin */
  GPIO_InitStruct.Pin = USER_Btn_Pin;
  GPIO_InitStruct.Mode = GPIO_MODE_IT_RISING;
  GPIO_InitStruct.Pull = GPIO_NOPULL;
  HAL_GPIO_Init(USER_Btn_GPIO_Port, &GPIO_InitStruct);

  /*Configure GPIO pins : PB10 PB11 LD3_Pin LD2_Pin */
  GPIO_InitStruct.Pin = GPIO_PIN_10|GPIO_PIN_11|LD3_Pin|LD2_Pin;
  GPIO_InitStruct.Mode = GPIO_MODE_OUTPUT_PP;
  GPIO_InitStruct.Pull = GPIO_NOPULL;
  GPIO_InitStruct.Speed = GPIO_SPEED_FREQ_LOW;
  HAL_GPIO_Init(GPIOB, &GPIO_InitStruct);

  /*Configure GPIO pin : USB_PowerSwitchOn_Pin */
  GPIO_InitStruct.Pin = USB_PowerSwitchOn_Pin;
  GPIO_InitStruct.Mode = GPIO_MODE_OUTPUT_PP;
  GPIO_InitStruct.Pull = GPIO_NOPULL;
  GPIO_InitStruct.Speed = GPIO_SPEED_FREQ_LOW;
  HAL_GPIO_Init(USB_PowerSwitchOn_GPIO_Port, &GPIO_InitStruct);

  /*Configure GPIO pin : USB_OverCurrent_Pin */
  GPIO_InitStruct.Pin = USB_OverCurrent_Pin;
  GPIO_InitStruct.Mode = GPIO_MODE_INPUT;
  GPIO_InitStruct.Pull = GPIO_NOPULL;
  HAL_GPIO_Init(USB_OverCurrent_GPIO_Port, &GPIO_InitStruct);

}

void Error_Handler(void)
{
  __disable_irq();
  while (1)
  {
  }
}
